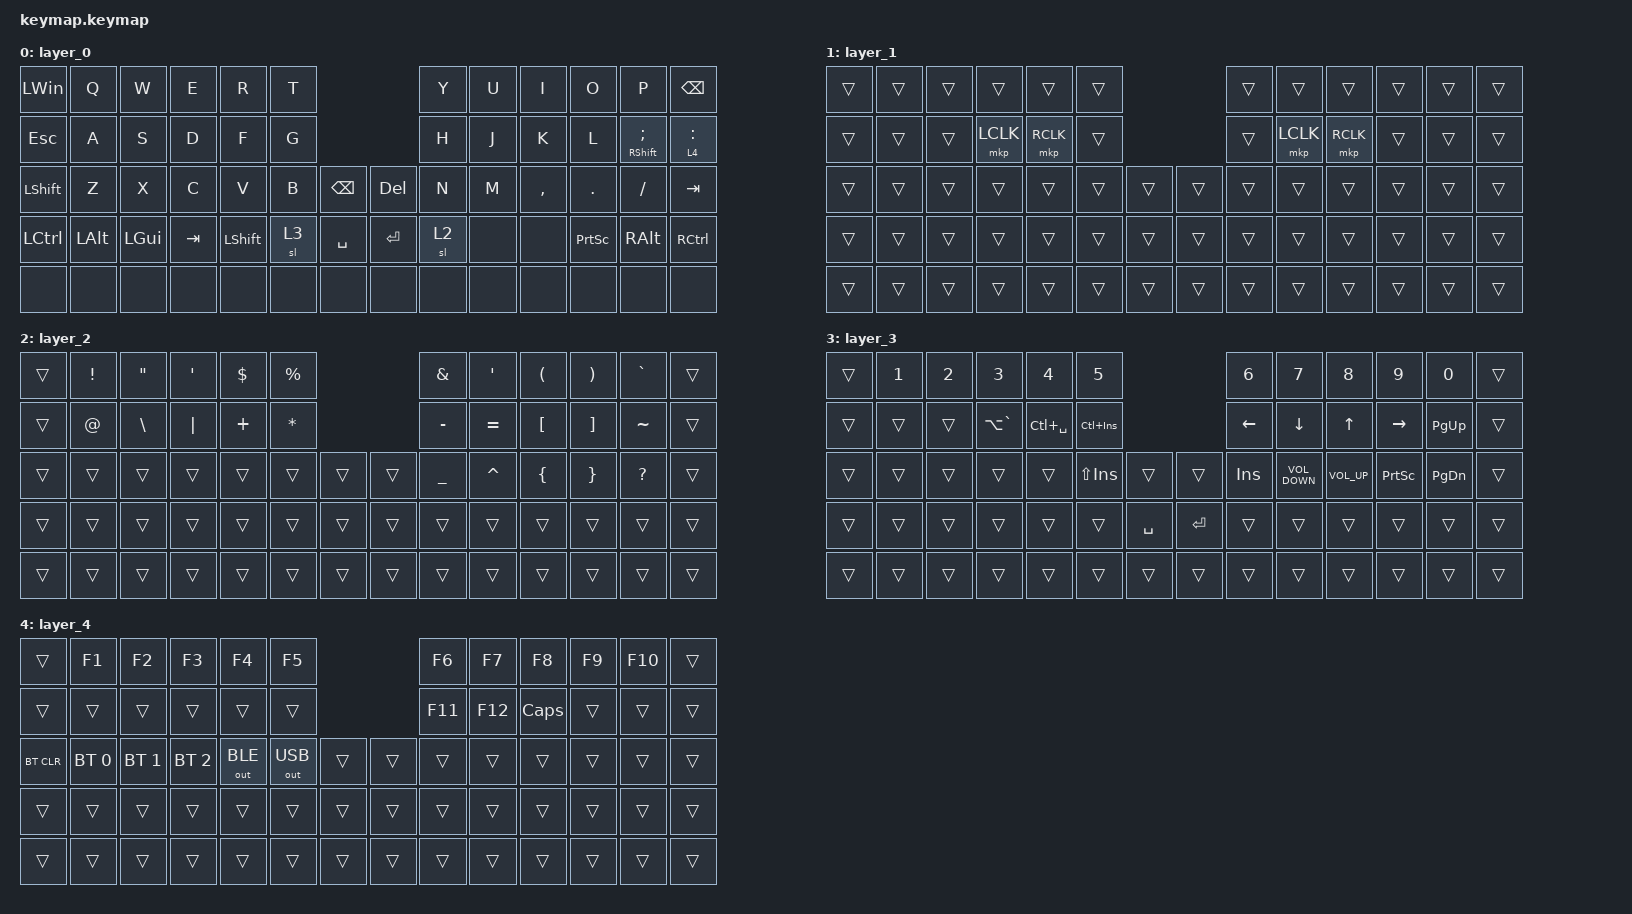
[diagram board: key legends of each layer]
#include <behaviors.dtsi>
#include <dt-bindings/zmk/bt.h>
#include <dt-bindings/zmk/keys.h>
#include <dt-bindings/zmk/outputs.h>
#include <dt-bindings/zmk/pointing.h>

/ {
    combos {
        compatible = "zmk,combos";

        bt_clear {
            bindings = <&bt BT_CLR>;
            key-positions = <28 29>;
            layers = <4>;
        };
    };

    behaviors {
        LEFT_HRMs: LEFT_HRMs {
            compatible = "zmk,behavior-hold-tap";
            label = "LEFT_HRMS";
            bindings = <&kp>, <&kp>;

            #binding-cells = <2>;
            tapping-term-ms = <280>;
            quick-tap-ms = <100>;
            require-prior-idle-ms = <10>;
            hold-trigger-key-positions = <0 1 2 3 4 5 12 13 14 15 16 17 24 25 26 27 28 29 30 38 39 40 41 42 43 44 52 53 54 55 56 57 58 45 31>;
            hold-trigger-on-release;
        };

        LAYER_HRM: LAYER_HRM {
            compatible = "zmk,behavior-hold-tap";
            label = "LAYER_HRM";
            bindings = <&mo>, <&kp>;

            #binding-cells = <2>;
            tapping-term-ms = <280>;
            quick-tap-ms = <175>;
            require-prior-idle-ms = <150>;
            flavor = "balanced";
            hold-trigger-on-release;
        };
    };

    keymap {
        compatible = "zmk,keymap";

        layer_0 {
            bindings = <
&kp LEFT_WIN    &kp Q         &kp W         &kp E    &kp R           &kp T                             &kp Y  &kp U  &kp I      &kp O            &kp P                             &kp BSPC
&kp ESCAPE      &kp A         &kp S         &kp D    &kp F           &kp G                             &kp H  &kp J  &kp K      &kp L            &LEFT_HRMs RIGHT_SHIFT SEMICOLON  &LAYER_HRM 4 COLON
&kp LEFT_SHIFT  &kp Z         &kp X         &kp C    &kp V           &kp B  &kp BACKSPACE  &kp DELETE  &kp N  &kp M  &kp COMMA  &kp PERIOD       &kp SLASH                         &kp TAB
&kp LCTRL       &kp LEFT_ALT  &kp LEFT_GUI  &kp TAB  &kp LEFT_SHIFT  &sl 3  &kp SPACE      &kp RET     &sl 2  &none  &none      &kp PRINTSCREEN  &kp RIGHT_ALT                     &kp RIGHT_CONTROL
&none           &none         &none         &none    &none           &none  &none          &none       &none  &none  &none      &none            &none                             &none
            >;
        };

        layer_1 {
            bindings = <
&trans  &trans  &trans  &trans     &trans     &trans                  &trans  &trans     &trans     &trans  &trans  &trans
&trans  &trans  &trans  &mkp LCLK  &mkp RCLK  &trans                  &trans  &mkp LCLK  &mkp RCLK  &trans  &trans  &trans
&trans  &trans  &trans  &trans     &trans     &trans  &trans  &trans  &trans  &trans     &trans     &trans  &trans  &trans
&trans  &trans  &trans  &trans     &trans     &trans  &trans  &trans  &trans  &trans     &trans     &trans  &trans  &trans
&trans  &trans  &trans  &trans     &trans     &trans  &trans  &trans  &trans  &trans     &trans     &trans  &trans  &trans
            >;
        };

        layer_2 {
            bindings = <
&trans  &kp EXCLAMATION  &kp DOUBLE_QUOTES  &kp SQT   &kp DOLLAR  &kp PERCENT                   &kp AMPERSAND   &kp SQT    &kp LEFT_PARENTHESIS  &kp RIGHT_PARENTHESIS  &kp GRAVE     &trans
&trans  &kp AT_SIGN      &kp BSLH           &kp PIPE  &kp PLUS    &kp ASTERISK                  &kp MINUS       &kp EQUAL  &kp LBKT              &kp RBKT               &kp TILDE     &trans
&trans  &trans           &trans             &trans    &trans      &trans        &trans  &trans  &kp UNDERSCORE  &kp CARET  &kp LEFT_BRACE        &kp RIGHT_BRACE        &kp QUESTION  &trans
&trans  &trans           &trans             &trans    &trans      &trans        &trans  &trans  &trans          &trans     &trans                &trans                 &trans        &trans
&trans  &trans           &trans             &trans    &trans      &trans        &trans  &trans  &trans          &trans     &trans                &trans                 &trans        &trans
            >;
        };

        layer_3 {
            bindings = <
&trans  &kp N1  &kp N2  &kp N3         &kp N4         &kp N5                              &kp N6      &kp N7             &kp N8           &kp N9           &kp N0     &trans
&trans  &trans  &trans  &kp LA(GRAVE)  &kp LC(SPACE)  &kp LC(INSERT)                      &kp LEFT    &kp DOWN           &kp UP           &kp RIGHT        &kp PG_UP  &trans
&trans  &trans  &trans  &trans         &trans         &kp LS(INSERT)  &trans     &trans   &kp INSERT  &kp C_VOLUME_DOWN  &kp C_VOLUME_UP  &kp PRINTSCREEN  &kp PG_DN  &trans
&trans  &trans  &trans  &trans         &trans         &trans          &kp SPACE  &kp RET  &trans      &trans             &trans           &trans           &trans     &trans
&trans  &trans  &trans  &trans         &trans         &trans          &trans     &trans   &trans      &trans             &trans           &trans           &trans     &trans
            >;
        };

        layer_4 {
            bindings = <
&trans      &kp F1        &kp F2        &kp F3        &kp F4        &kp F5                        &kp F6   &kp F7   &kp F8        &kp F9  &kp F10  &trans
&trans      &trans        &trans        &trans        &trans        &trans                        &kp F11  &kp F12  &kp CAPSLOCK  &trans  &trans   &trans
&bt BT_CLR  &bt BT_SEL 0  &bt BT_SEL 1  &bt BT_SEL 2  &out OUT_BLE  &out OUT_USB  &trans  &trans  &trans   &trans   &trans        &trans  &trans   &trans
&trans      &trans        &trans        &trans        &trans        &trans        &trans  &trans  &trans   &trans   &trans        &trans  &trans   &trans
&trans      &trans        &trans        &trans        &trans        &trans        &trans  &trans  &trans   &trans   &trans        &trans  &trans   &trans
            >;
        };
    };
};
